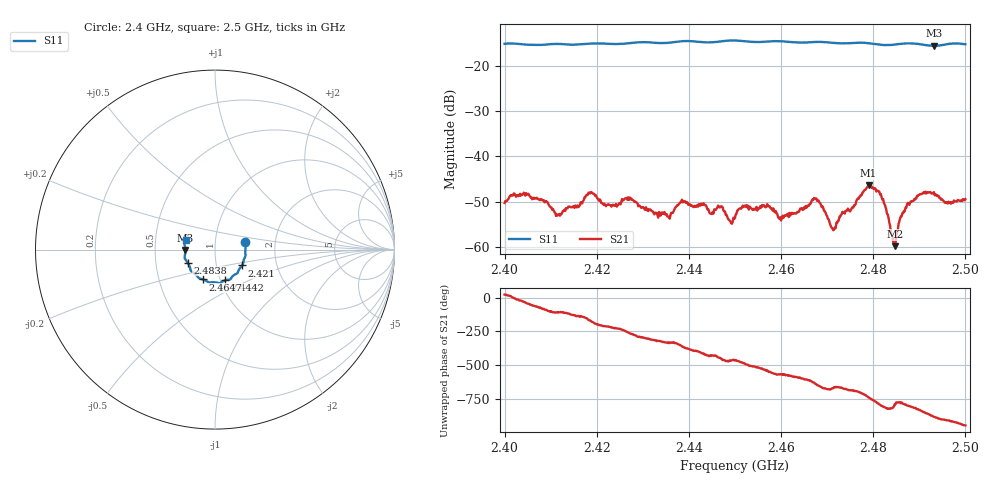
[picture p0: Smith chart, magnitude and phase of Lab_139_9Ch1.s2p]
# Hz S RI R 50
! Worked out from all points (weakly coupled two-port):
!   601 points, 2.4 GHz to 2.5 GHz, reference 50 ohm
!   highest |S21| = -46.35 dB at 2.479 GHz (marker M1); lowest = -59.8 dB at 2.4847 GHz (marker M2)
!   lowest |S11| = -15.6 dB at 2.4932 GHz (marker M3), VSWR 1.40, Z = 35.8 - j0.108 ohm
!   |S11| at or under -10 dB: start of sweep to end of sweep
!   S12 and S22 are empty: the file has one direction only
!   S11 on the Smith chart (normalised r, x): 2.4 GHz: 1.40, +0.12; 2.421 GHz: 1.33, -0.24; 2.4442 GHz: 1.05, -0.37; 2.4647 GHz: 0.83, -0.28; 2.4838 GHz: 0.73, -0.11; 2.5 GHz: 0.72, +0.08
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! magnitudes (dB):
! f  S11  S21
! 2.4 GHz  -15.2  -50.3
! 2.4047 GHz  -15.4  -48.1
! 2.4117 GHz  -15.2  -52.9
! 2.4167 GHz  -15.3  -50.2
! 2.4187 GHz  -15.1  -48.0
! 2.421 GHz  -15.1  -50.3
! 2.4273 GHz  -15.0  -49.4
! 2.4333 GHz  -15.0  -53.5
! 2.4387 GHz  -14.6  -50.2
! 2.4442 GHz  -14.9  -51.6
! 2.45 GHz  -14.5  -53.5
! 2.4647 GHz  -14.9  -51.8
! 2.4667 GHz  -14.8  -49.8
! 2.4713 GHz  -15.0  -56.3
! 2.479 GHz  -15.1  -46.3
! 2.4817 GHz  -15.4  -48.3
! 2.4833 GHz  -15.5  -53.6
! 2.4838 GHz  -15.5  -56.7
! 2.4847 GHz  -15.4  -59.8
! 2.4875 GHz  -15.1  -50.3
! 2.4932 GHz  -15.6  -47.9
! 2.5 GHz  -15.3  -49.4
